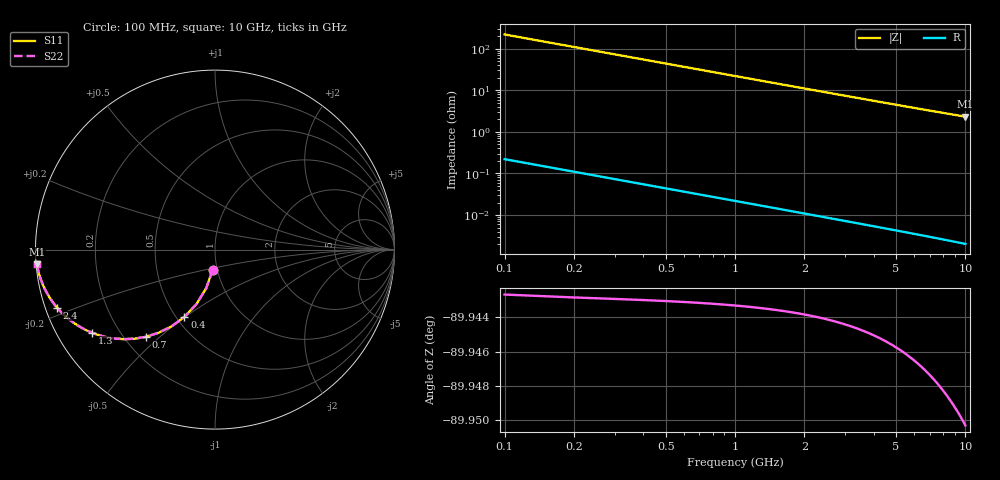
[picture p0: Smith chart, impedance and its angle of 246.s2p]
# Hz S RI R 50.00
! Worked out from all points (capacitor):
!   100 points, 100 MHz to 10 GHz, reference 50 ohm
!   read as one part in shunt: C = 7.21 pF near 100 MHz
!   lowest |Z| = 2.33 ohm at 10 GHz (marker M1)
!   S11 on the Smith chart (normalised r, x): 100 MHz: 0.95, -0.22; 400 MHz: 0.55, -0.50; 700 MHz: 0.29, -0.45; 1.3 GHz: 0.10, -0.30; 2.4 GHz: 0.03, -0.18; 10 GHz: 0.00, -0.04
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1e8  -0.0128 -0.1118  0.9872 -0.1119  0.9872 -0.1119  -0.0128 -0.1118
2e8  -0.049 -0.2154  0.9509 -0.2156  0.9509 -0.2156  -0.049 -0.2154
3e8  -0.1038 -0.3044  0.8962 -0.3047  0.8962 -0.3047  -0.1038 -0.3044
4e8  -0.1706 -0.3755  0.8294 -0.3759  0.8294 -0.3759  -0.1706 -0.3755
5e8  -0.2431 -0.4282  0.7569 -0.4287  0.7569 -0.4287  -0.2431 -0.4282
6e8  -0.3161 -0.4641  0.6839 -0.4648  0.6839 -0.4648  -0.3161 -0.4641
7e8  -0.386 -0.486  0.614 -0.4867  0.614 -0.4867  -0.386 -0.486
8e8  -0.4507 -0.4967  0.5493 -0.4975  0.5493 -0.4975  -0.4507 -0.4967
1e9  -0.5615 -0.4952  0.4385 -0.4962  0.4385 -0.4962  -0.5615 -0.4952
1.1e9  -0.6076 -0.4872  0.3924 -0.4883  0.3924 -0.4883  -0.6076 -0.4872
1.3e9  -0.6836 -0.4639  0.3164 -0.4652  0.3164 -0.4652  -0.6836 -0.4639
1.5e9  -0.7418 -0.4364  0.2582 -0.4379  0.2582 -0.4379  -0.7418 -0.4364
1.8e9  -0.8051 -0.3947  0.1949 -0.3965  0.1949 -0.3965  -0.8051 -0.3947
2.1e9  -0.8488 -0.3566  0.1512 -0.3588  0.1512 -0.3588  -0.8488 -0.3566
2.4e9  -0.8799 -0.3234  0.1201 -0.3259  0.1201 -0.3259  -0.8799 -0.3234
2.9e9  -0.9143 -0.2779  0.0857 -0.2809  0.0857 -0.2809  -0.9143 -0.2779
3.4e9  -0.9361 -0.2423  0.0639 -0.2458  0.0639 -0.2458  -0.9361 -0.2423
4.2e9  -0.9571 -0.1999  0.0429 -0.2043  0.0429 -0.2043  -0.9571 -0.1999
5.1e9  -0.9705 -0.1661  0.0295 -0.1714  0.0295 -0.1714  -0.9705 -0.1661
6.7e9  -0.9827 -0.1263  0.0173 -0.1334  0.0173 -0.1334  -0.9827 -0.1263
8.4e9  -0.989 -0.0994  0.011 -0.1083  0.011 -0.1083  -0.989 -0.0994
1e10  -0.9922 -0.0817  0.0077 -0.0925  0.0077 -0.0925  -0.9922 -0.0817
